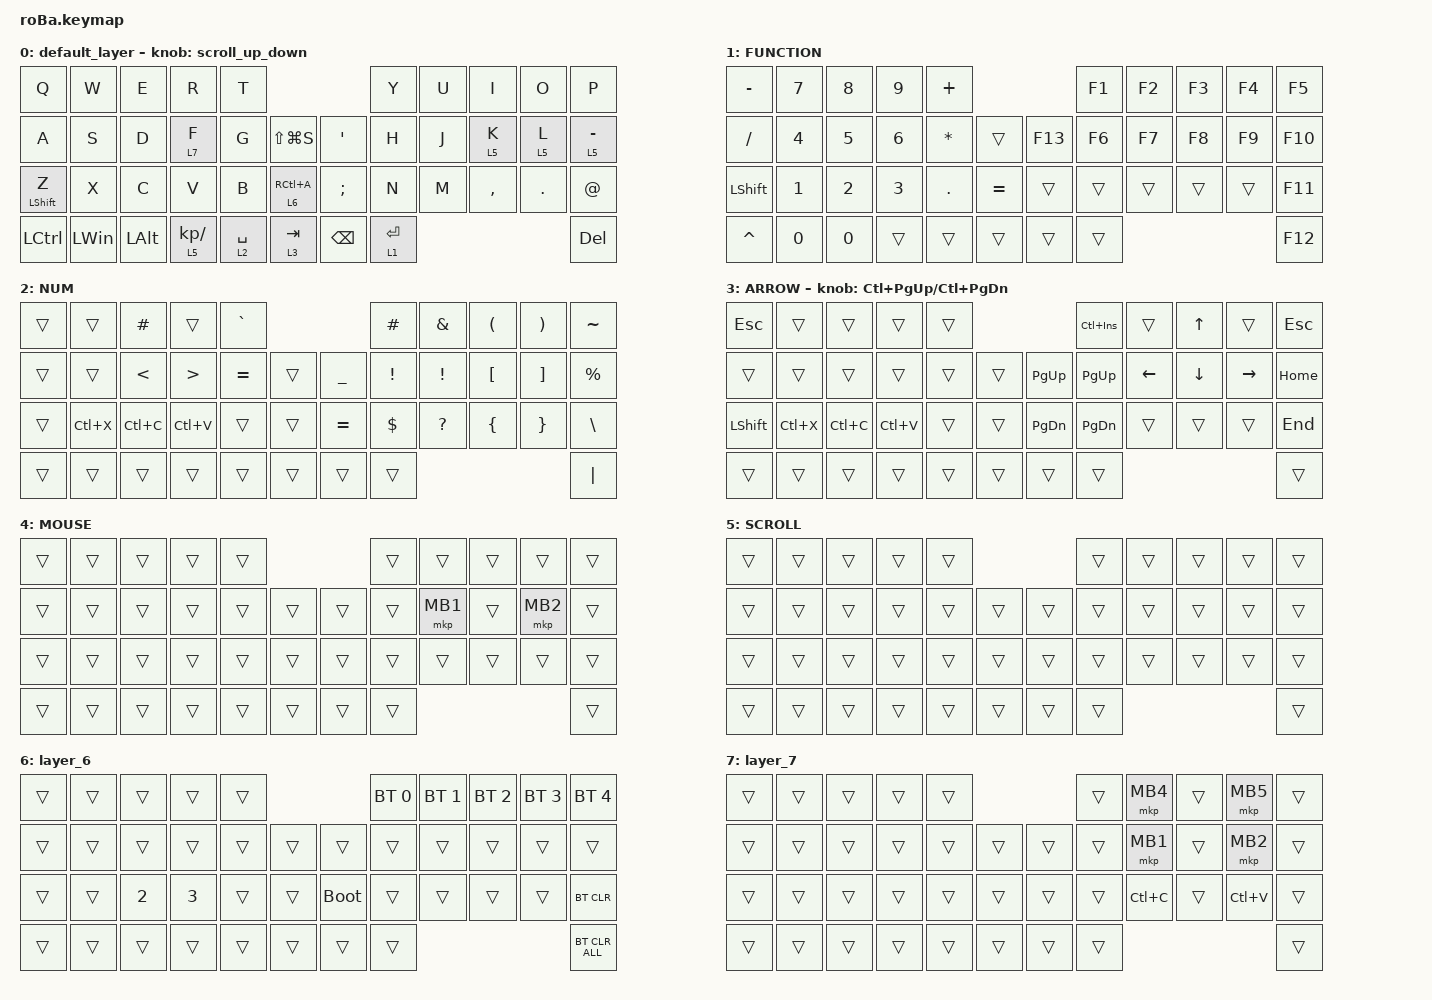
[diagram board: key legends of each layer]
#define ZMK_POINTING_DEFAULT_SCRL_VAL 100
#define ZMK_MOUSE_DEFAULT_SCRL_VAL 100

#include <behaviors.dtsi>
#include <dt-bindings/zmk/bt.h>
#include <dt-bindings/zmk/keys.h>
#include <dt-bindings/zmk/pointing.h>

&mt {
    flavor = "balanced";
    quick-tap-ms = <0>;
};

&trackball {
    automouse-layer = <4>;
    scroll-layers = <5>;

    // arrows {
    //     layers = <3>;
    //     bindings =
    //         <&kp RIGHT_ARROW>,
    //         <&kp LEFT_ARROW>,
    //         <&kp UP_ARROW>,
    //         <&kp DOWN_ARROW>;
    //     tick = <10>;
    //     wait-ms = <5>;
    //     tap-ms = <5>;
    // };
};

/ {
    combos {
        compatible = "zmk,combos";

        tab {
            bindings = <&kp TAB>;
            key-positions = <11 12>;
        };

        shift_tab {
            bindings = <&kp LS(TAB)>;
            key-positions = <12 13>;
        };

        muhennkann {
            bindings = <&to_layer_0 INT_MUHENKAN>;
            key-positions = <11 10>;
        };

        double_quotation {
            bindings = <&kp DOUBLE_QUOTES>;
            key-positions = <20 21>;
        };

        eq {
            bindings = <&kp EQUAL>;
            key-positions = <24 25>;
        };

        l_click {
            bindings = <&mkp MB1>;
            key-positions = <19 18>;
        };

        r_click {
            bindings = <&mkp MB2>;
            key-positions = <19 20>;
        };

        p_click {
            bindings = <&mkp MB4>;
            key-positions = <6 19>;
        };

        n_click {
            bindings = <&mkp MB5>;
            key-positions = <19 8>;
        };
    };

    macros {
        to_layer_0: to_layer_0 {
            compatible = "zmk,behavior-macro-one-param";
            #binding-cells = <1>;
            bindings = <&to 0 &macro_param_1to1 &kp MACRO_PLACEHOLDER>;
            label = "TO_LAYER_0";
        };
    };

    behaviors {
        lt_to_layer_0: lt_to_layer_0 {
            compatible = "zmk,behavior-hold-tap";
            label = "LAYER_TAP_TO_0";
            bindings = <&mo>, <&to_layer_0>;

            #binding-cells = <2>;
            tapping-term-ms = <200>;
        };

        scroll_up_down: behavior_sensor_rotate_mouse_wheel_up_down {
            compatible = "zmk,behavior-sensor-rotate";
            #sensor-binding-cells = <0>;
            bindings = <&msc SCRL_UP>, <&msc SCRL_DOWN>;

            tap-ms = <20>;
        };
    };

    keymap {
        compatible = "zmk,keymap";

        default_layer {
            bindings = <
&kp Q             &kp W         &kp E         &kp R                      &kp T                                                 &kp Y        &kp U  &kp I      &kp O    &kp P
&kp A             &kp S         &kp D         &lt 7 F                    &kp G        &kp LS(LG(S))             &kp SQT        &kp H        &kp J  &lt 5 K    &lt 5 L  &lt 5 MINUS
&mt LEFT_SHIFT Z  &kp X         &kp C         &kp V                      &kp B        &lt 6 RC(A)               &kp SEMICOLON  &kp N        &kp M  &kp COMMA  &kp DOT  &kp AT_SIGN
&kp LCTRL         &kp LEFT_WIN  &kp LEFT_ALT  &lt_to_layer_0 5 KP_SLASH  &lt 2 SPACE  &lt_to_layer_0 3 TAB      &kp BACKSPACE  &lt 1 ENTER                             &kp DEL
            >;

            sensor-bindings = <&scroll_up_down>;
        };

        FUNCTION {
            bindings = <
&kp MINUS       &kp NUMBER_7  &kp NUMBER_8  &kp NUMBER_9  &kp PLUS                            &kp F1  &kp F2  &kp F3  &kp F4  &kp F5
&kp SLASH       &kp NUMBER_4  &kp NUMBER_5  &kp NUMBER_6  &kp ASTRK   &trans         &kp F13  &kp F6  &kp F7  &kp F8  &kp F9  &kp F10
&kp LEFT_SHIFT  &kp NUMBER_1  &kp NUMBER_2  &kp NUMBER_3  &kp PERIOD  &kp EQUAL      &trans   &trans  &trans  &trans  &trans  &kp F11
&kp CARET       &kp NUMBER_0  &kp NUMBER_0  &trans        &trans      &trans         &trans   &trans                          &kp F12
            >;
        };

        NUM {
            bindings = <
&trans  &trans     &kp HASH       &trans            &kp GRAVE                              &kp HASH         &kp AMPERSAND    &kp LEFT_PARENTHESIS  &kp RIGHT_PARENTHESIS  &kp TILDE
&trans  &trans     &kp LESS_THAN  &kp GREATER_THAN  &kp EQUAL  &trans      &kp UNDERSCORE  &kp EXCLAMATION  &kp EXCLAMATION  &kp LEFT_BRACKET      &kp RIGHT_BRACKET      &kp PERCENT
&trans  &kp LC(X)  &kp LC(C)      &kp LC(V)         &trans     &trans      &kp EQUAL       &kp DOLLAR       &kp QUESTION     &kp LEFT_BRACE        &kp RIGHT_BRACE        &kp BACKSLASH
&trans  &trans     &trans         &trans            &trans     &trans      &trans          &trans                                                                         &kp PIPE
            >;
        };

        ARROW {
            bindings = <
&kp ESCAPE      &trans     &trans     &trans     &trans                             &kp LC(INSERT)  &trans          &kp UP_ARROW    &trans           &kp ESC
&trans          &trans     &trans     &trans     &trans  &trans      &kp PAGE_UP    &kp PG_UP       &kp LEFT_ARROW  &kp DOWN_ARROW  &kp RIGHT_ARROW  &kp HOME
&kp LEFT_SHIFT  &kp LC(X)  &kp LC(C)  &kp LC(V)  &trans  &trans      &kp PAGE_DOWN  &kp PAGE_DOWN   &trans          &trans          &trans           &kp END
&trans          &trans     &trans     &trans     &trans  &trans      &trans         &trans                                                           &trans
            >;

            sensor-bindings = <&inc_dec_kp LC(PAGE_UP) LC(PAGE_DOWN)>;
        };

        MOUSE {
            bindings = <
&trans  &trans  &trans  &trans  &trans                      &trans  &trans    &trans  &trans    &trans
&trans  &trans  &trans  &trans  &trans  &trans      &trans  &trans  &mkp MB1  &trans  &mkp MB2  &trans
&trans  &trans  &trans  &trans  &trans  &trans      &trans  &trans  &trans    &trans  &trans    &trans
&trans  &trans  &trans  &trans  &trans  &trans      &trans  &trans                              &trans
            >;
        };

        SCROLL {
            bindings = <
&trans  &trans  &trans  &trans  &trans                      &trans  &trans  &trans  &trans  &trans
&trans  &trans  &trans  &trans  &trans  &trans      &trans  &trans  &trans  &trans  &trans  &trans
&trans  &trans  &trans  &trans  &trans  &trans      &trans  &trans  &trans  &trans  &trans  &trans
&trans  &trans  &trans  &trans  &trans  &trans      &trans  &trans                          &trans
            >;
        };

        layer_6 {
            bindings = <
&trans  &trans  &trans        &trans        &trans                           &bt BT_SEL 0  &bt BT_SEL 1  &bt BT_SEL 2  &bt BT_SEL 3  &bt BT_SEL 4
&trans  &trans  &trans        &trans        &trans  &trans      &trans       &trans        &trans        &trans        &trans        &trans
&trans  &trans  &kp NUMBER_2  &kp NUMBER_3  &trans  &trans      &bootloader  &trans        &trans        &trans        &trans        &bt BT_CLR
&trans  &trans  &trans        &trans        &trans  &trans      &trans       &trans                                                  &bt BT_CLR_ALL
            >;
        };

        layer_7 {
            bindings = <
&trans  &trans  &trans  &trans  &trans                      &trans  &mkp MB4   &trans  &mkp MB5   &trans
&trans  &trans  &trans  &trans  &trans  &trans      &trans  &trans  &mkp MB1   &trans  &mkp MB2   &trans
&trans  &trans  &trans  &trans  &trans  &trans      &trans  &trans  &kp LC(C)  &trans  &kp LC(V)  &trans
&trans  &trans  &trans  &trans  &trans  &trans      &trans  &trans                                &trans
            >;
        };
    };
};
